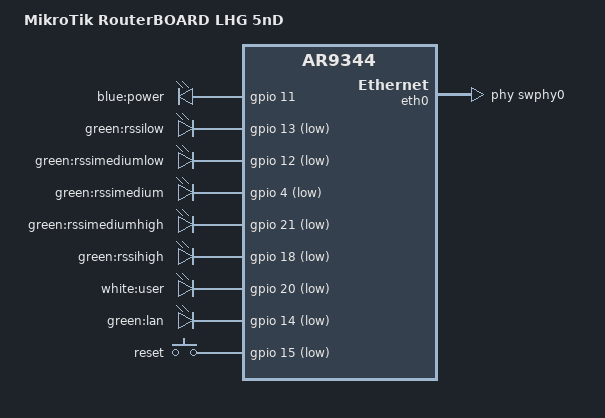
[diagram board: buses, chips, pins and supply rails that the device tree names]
// SPDX-License-Identifier: GPL-2.0-or-later OR MIT

#include "ar9344_mikrotik_routerboard-16m-nor.dtsi"

#include <dt-bindings/gpio/gpio.h>
#include <dt-bindings/input/input.h>

/ {
	compatible = "mikrotik,routerboard-lhg-5nd", "qca,ar9344";
	model = "MikroTik RouterBOARD LHG 5nD";

	aliases {
		led-boot = &led_user;
		led-failsafe = &led_user;
		led-running = &led_user;
		led-upgrade = &led_user;
	};

	leds {
		compatible = "gpio-leds";

		power {
			label = "blue:power";
			gpios = <&gpio 11 GPIO_ACTIVE_HIGH>;
			default-state = "on";
		};

		rssilow {
			label = "green:rssilow";
			gpios = <&gpio 13 GPIO_ACTIVE_LOW>;
		};

		rssimediumlow {
			label = "green:rssimediumlow";
			gpios = <&gpio 12 GPIO_ACTIVE_LOW>;
		};

		rssimedium {
			label = "green:rssimedium";
			gpios = <&gpio 4 GPIO_ACTIVE_LOW>;
		};

		rssimediumhigh {
			label = "green:rssimediumhigh";
			gpios = <&gpio 21 GPIO_ACTIVE_LOW>;
		};

		rssihigh {
			label = "green:rssihigh";
			gpios = <&gpio 18 GPIO_ACTIVE_LOW>;
		};

		led_user: user {
			label = "white:user";
			gpios = <&gpio 20 GPIO_ACTIVE_LOW>;
		};

		lan {
			label = "green:lan";
			gpios = <&gpio 14 GPIO_ACTIVE_LOW>;
		};
	};

	keys {
		compatible = "gpio-keys";

		reset {
			label = "reset";
			linux,code = <KEY_RESTART>;
			gpios = <&gpio 15 GPIO_ACTIVE_LOW>;
			debounce-interval = <60>;
		};
	};
};

&eth0 {
	status = "okay";

	phy-handle = <&swphy0>;

	gmac-config {
		device = <&gmac>;
		switch-phy-swap = <1>;
	};
};

&eth1 {
	status = "okay";

	compatible = "syscon", "simple-mfd";
};
